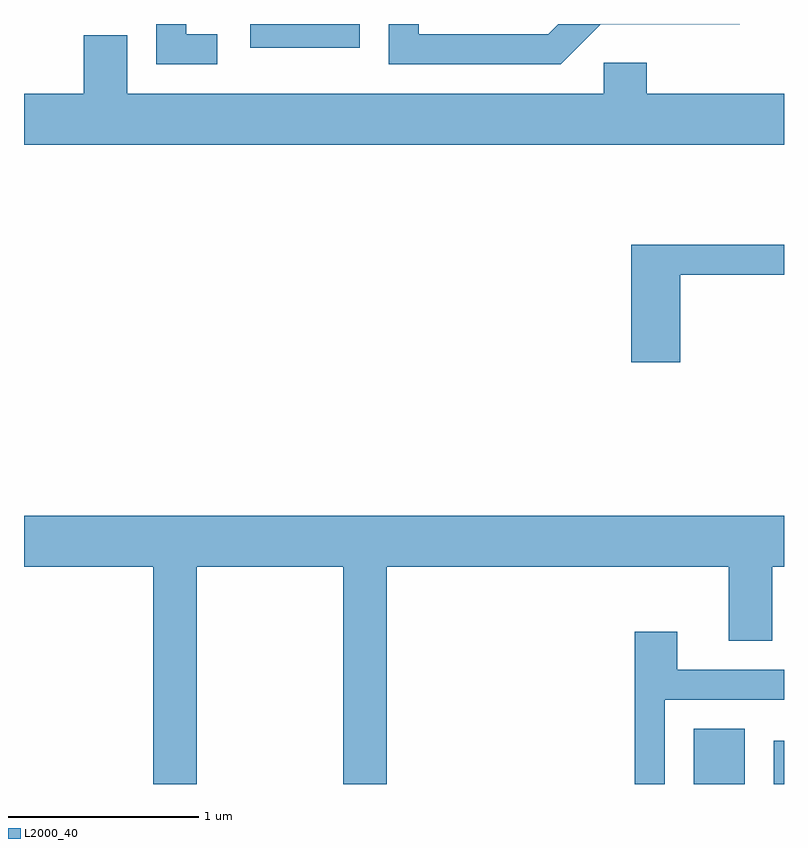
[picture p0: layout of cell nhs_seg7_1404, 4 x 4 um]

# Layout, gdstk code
import gdstk
lib = gdstk.Library(unit=1e-6, precision=1e-09)
def R(c, l, rs):  # rectangles x0, y0, x1, y1
    for r in rs: c.add(gdstk.rectangle(r[:2], r[2:], *l))
def P(c, l, *ps):  # polygons
    for p in ps: c.add(gdstk.Polygon(p, *l))
L2000_40 = (2000, 40)

nhs_seg7_1404 = lib.new_cell('nhs_seg7_1404')
R(nhs_seg7_1404, L2000_40, [(231.136,1744.252,231.404,1744.544), (231.556,1744.252,231.611,1744.479), (228.801,1748.126,229.379,1748.252)])
P(nhs_seg7_1404, L2000_40, [(228.628,1748.199),(228.464,1748.199),(228.464,1748.252),(228.306,1748.252),(228.306,1748.041),(228.628,1748.041)],
  [(230.647,1748.251),(231.379,1748.251),(231.379,1748.252),(230.422,1748.252),(230.369,1748.199),(229.689,1748.199),(229.689,1748.252),(229.531,1748.252),(229.531,1748.041),(230.437,1748.041)],
  [(231.611,1747.884),(230.889,1747.884),(230.889,1748.049),(230.661,1748.049),(230.661,1747.884),(228.154,1747.884),(228.154,1748.194),(227.926,1748.194),(227.926,1747.884),(227.611,1747.884),(227.611,1747.616),(231.611,1747.616)],
  [(231.064,1746.931),(231.611,1746.931),(231.611,1747.089),(230.806,1747.089),(230.806,1746.471),(231.064,1746.471)],
  [(228.519,1745.396),(229.291,1745.396),(229.291,1744.252),(229.519,1744.252),(229.519,1745.396),(231.321,1745.396),(231.321,1745.006),(231.549,1745.006),(231.549,1745.396),(231.611,1745.396),(231.611,1745.664),(227.611,1745.664),(227.611,1745.396),(228.291,1745.396),(228.291,1744.252),(228.519,1744.252)],
  [(230.984,1744.696),(231.611,1744.696),(231.611,1744.854),(231.049,1744.854),(231.049,1745.054),(230.826,1745.054),(230.826,1744.252),(230.984,1744.252)])

lib.write_gds('nhs_seg7_1404.gds')
